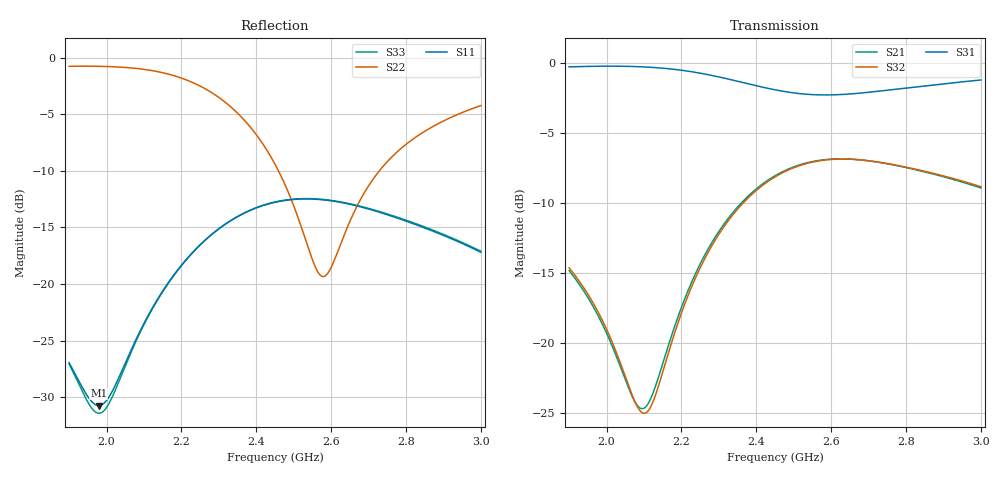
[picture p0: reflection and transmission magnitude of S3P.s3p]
! C23 board, ports J2 L2 L3
# Hz S RI R 50
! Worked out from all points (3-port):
!   1101 points, 1.9 GHz to 3 GHz, reference 50 ohm
!   strongest paths, dB at 1.9 GHz, 2.175 GHz, 2.45 GHz, 2.725 GHz, 3 GHz:
!     S31: -0.3, -0.5, -1.9, -2.0, -1.2
!     S32: -14.6, -19.8, -8.1, -7.1, -8.8
!     S21: -14.8, -19.3, -8.1, -7.1, -8.9
!   lowest |S11| = -30.7 dB at 1.979 GHz (marker M1), VSWR 1.06, Z = 47.2 + j0.493 ohm
!   |S11| at or under -10 dB: start of sweep to end of sweep
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1.9e9  -0.0267 0.0361  -0.0446 0.1808  0.9587 -0.124
       -0.0439 0.1762  0.8526 0.3342  -0.0557 0.1732
       0.9584 -0.1242  -0.0561 0.1771  -0.0304 0.0323
1.979e9  -0.0286 0.00522  -0.0357 0.1239  0.9586 -0.1621
         -0.0356 0.1191  0.8883 0.2241  -0.0423 0.1157
         0.958 -0.1618  -0.0429 0.1207  -0.0268 0.000614
2.075e9  -0.0429 -0.0347  -0.0462 0.0454  0.9462 -0.2116
         -0.047 0.0405  0.8956 0.0647  -0.0475 0.0353
         0.9457 -0.2111  -0.0468 0.041  -0.0342 -0.0421
2.107e9  -0.0517 -0.0479  -0.0573 0.0179  0.9381 -0.2282
         -0.0584 0.013  0.8845 0.00595  -0.0565 0.00683
         0.9377 -0.2278  -0.0554 0.0124  -0.0404 -0.0568
2.267e9  -0.1304 -0.0897  -0.1876 -0.0895  0.8621 -0.2917
         -0.1901 -0.0931  0.675 -0.2602  -0.1763 -0.113
         0.861 -0.2909  -0.175 -0.1083  -0.1087 -0.1146
2.358e9  -0.1866 -0.0768  -0.2989 -0.0862  0.8033 -0.2931
         -0.3015 -0.0886  0.4594 -0.3052  -0.2876 -0.1221
         0.8023 -0.2917  -0.2861 -0.1174  -0.1662 -0.115
2.45e9  -0.2269 -0.035  -0.3929 -0.0216  0.7568 -0.2641
        -0.3948 -0.0228  0.2508 -0.2269  -0.3883 -0.0682
        0.7563 -0.2626  -0.3864 -0.0642  -0.2146 -0.0839
2.581e9  -0.2319 0.0389  -0.4346 0.1212  0.7412 -0.2029
         -0.4346 0.1204  0.1061 0.0199  -0.4443 0.0679
         0.7408 -0.2013  -0.4438 0.0713  -0.2357 -0.0149
2.749e9  -0.1809 0.0912  -0.36 0.2512  0.7816 -0.16
         -0.3584 0.2492  0.1845 0.2925  -0.3859 0.2018
         0.7818 -0.1585  -0.3857 0.2064  -0.1991 0.0451
3e9  -0.1065 0.0879  -0.213 0.2936  0.8502 -0.1756
     -0.2108 0.2891  0.436 0.4329  -0.2464 0.2572
     0.85 -0.1743  -0.2474 0.2635  -0.1273 0.0575
